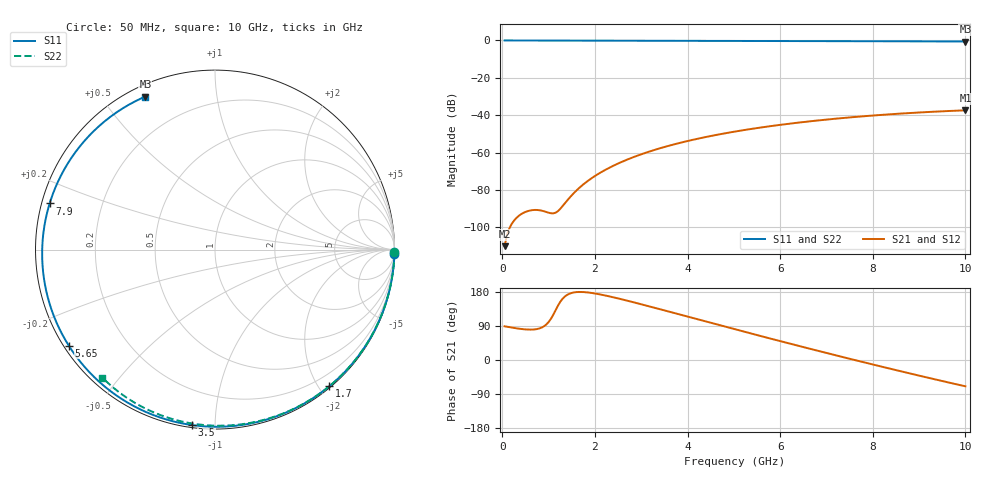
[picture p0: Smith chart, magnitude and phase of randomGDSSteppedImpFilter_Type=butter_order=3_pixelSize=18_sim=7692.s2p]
! freq	dB(S11)	phase(S11)	dB(S12)	phase(S12)
!  dB(S21)	phase(S21)	dB(S22)	phase(S22)
!S-par simulation data
#  GHz  S  DB  R 50
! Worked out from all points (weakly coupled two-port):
!   200 points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, 50 MHz to 10 GHz, reference 50 ohm
!   highest |S21| = -37.39 dB at 10 GHz (marker M1); lowest = -110.1 dB at 50 MHz (marker M2)
!   lowest |S11| = -0.6 dB at 10 GHz (marker M3), VSWR 30.73, Z = 2.3 + j32.1 ohm
!   |S11| at or under -10 dB: nowhere
!   |S22| runs from -0.4 to 0.0 dB; largest |S21 - S12| = 0
!   S11 on the Smith chart (normalised r, x): 50 MHz: 0, -75; 1.7 GHz: 0.02, -2.14; 3.5 GHz: 0.01, -0.88; 5.65 GHz: 0.01, -0.30; 7.9 GHz: 0.02, +0.14; 10 GHz: 0.05, +0.64
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0.05  -0.00 -1.5  -110.10 88.9  -110.10 88.9  -0.00 -0.8
0.4  -0.02 -12.1  -93.08 82.0  -93.08 82.0  -0.01 -6.0
0.8  -0.03 -24.0  -90.86 83.2  -90.86 83.2  -0.02 -12.1
1.2  -0.04 -35.7  -91.39 142.9  -91.39 142.9  -0.02 -18.0
1.6  -0.06 -47.2  -80.33 179.2  -80.33 179.2  -0.03 -24.0
1.7  -0.06 -50.1  -78.07 179.6  -78.07 179.6  -0.03 -25.4
1.75  -0.06 -51.5  -77.04 179.3  -77.04 179.3  -0.03 -26.2
2.05  -0.07 -59.8  -71.78 174.5  -71.78 174.5  -0.04 -30.6
2.45  -0.09 -70.6  -66.45 164.0  -66.45 164.0  -0.05 -36.4
2.9  -0.10 -82.4  -61.82 150.3  -61.82 150.3  -0.06 -42.8
3.4  -0.12 -95.0  -57.74 134.2  -57.74 134.2  -0.07 -49.8
3.5  -0.12 -97.5  -57.02 130.9  -57.02 130.9  -0.07 -51.2
4.25  -0.15 -115.4  -52.43 106.3  -52.43 106.3  -0.09 -61.5
5.05  -0.19 -133.5  -48.65 80.3  -48.65 80.3  -0.11 -72.1
5.65  -0.22 -146.7  -46.35 61.0  -46.35 61.0  -0.13 -79.9
6.2  -0.26 -158.6  -44.55 43.5  -44.55 43.5  -0.16 -86.8
6.7  -0.29 -169.4  -43.12 27.9  -43.12 27.9  -0.18 -93.0
7.3  -0.34 177.6  -41.64 9.4  -41.64 9.4  -0.21 -100.2
7.9  -0.39 164.4  -40.37 -8.8  -40.37 -8.8  -0.25 -107.3
8.35  -0.43 154.2  -39.55 -22.3  -39.55 -22.3  -0.29 -112.5
9.15  -0.49 135.5  -38.35 -45.6  -38.35 -45.6  -0.36 -121.7
10  -0.57 114.5  -37.39 -69.4  -37.39 -69.4  -0.44 -131.3
